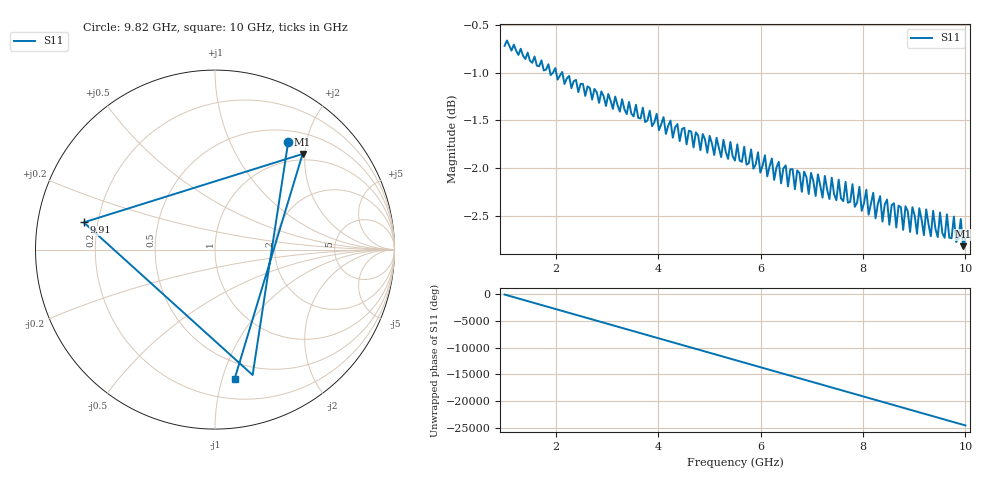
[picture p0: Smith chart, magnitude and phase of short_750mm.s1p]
# HZ S RI R 50
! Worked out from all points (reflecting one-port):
!   201 points, 1 GHz to 10 GHz, reference 50 ohm
!   lowest |S11| = -2.8 dB at 9.955 GHz (marker M1), VSWR 6.21, Z = 43.7 + j97.6 ohm
!   phase of S11 starts at -27 deg and turns -24534 deg over the sweep
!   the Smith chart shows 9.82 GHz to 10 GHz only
!   S11 on the Smith chart (normalised r, x): 9.82 GHz: 0.66, +1.69; 9.91 GHz: 0.15, +0.10; 10 GHz: 0.36, -1.10
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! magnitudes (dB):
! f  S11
! 1 GHz  -0.7
! 2.125 GHz  -1.0
! 3.25 GHz  -1.4
! 4.375 GHz  -1.5
! 5.5 GHz  -1.9
! 6.625 GHz  -2.0
! 7.75 GHz  -2.4
! 8.47 GHz  -2.3
! 8.515 GHz  -2.6
! 8.605 GHz  -2.4
! 8.65 GHz  -2.6
! 8.695 GHz  -2.4
! 8.785 GHz  -2.7
! 8.875 GHz  -2.5
! 9.055 GHz  -2.7
! 9.1 GHz  -2.4
! 9.19 GHz  -2.7
! 9.235 GHz  -2.4
! 9.325 GHz  -2.7
! 9.37 GHz  -2.5
! 9.46 GHz  -2.7
! 9.505 GHz  -2.5
! 9.595 GHz  -2.7
! 9.775 GHz  -2.5
! 9.82 GHz  -2.8
! 9.91 GHz  -2.5
! 9.955 GHz  -2.8
! 10 GHz  -2.7
